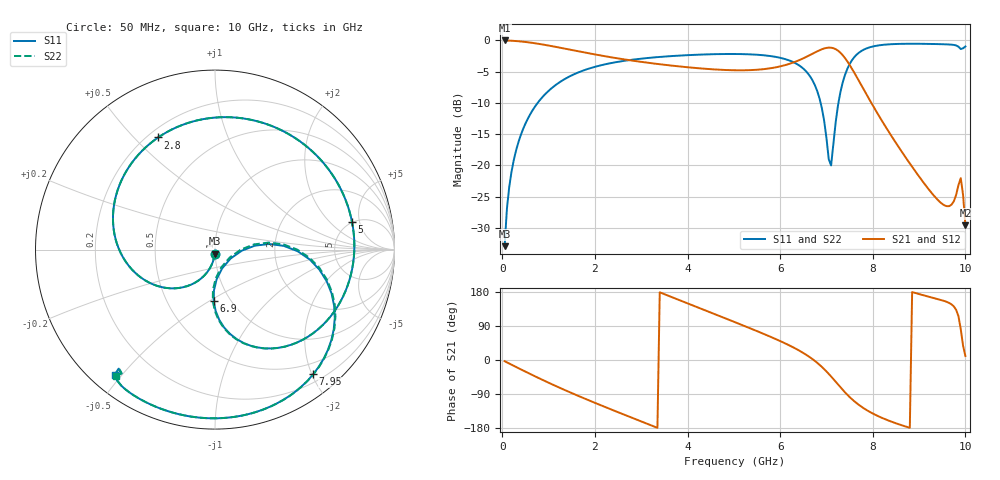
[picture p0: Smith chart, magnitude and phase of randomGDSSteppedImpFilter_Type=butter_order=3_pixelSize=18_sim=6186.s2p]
! freq	dB(S11)	phase(S11)	dB(S12)	phase(S12)
!  dB(S21)	phase(S21)	dB(S22)	phase(S22)
!S-par simulation data
#  GHz  S  DB  R 50
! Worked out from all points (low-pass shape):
!   200 points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, 50 MHz to 10 GHz, reference 50 ohm
!   highest |S21| = -0.01 dB at 50 MHz (marker M1); lowest = -29.6 dB at 10 GHz (marker M2)
!   |S21| within 3 dB of the highest: start of sweep to 2.608 GHz; 6.458 GHz to 7.418 GHz (959.5 MHz wide, 13.8 % of centre)
!   lowest |S11| = -32.9 dB at 50 MHz (marker M3), VSWR 1.05, Z = 49.8 - j2.25 ohm
!   |S11| at or under -10 dB: start of sweep to 763.3 MHz; 6.874 GHz to 7.258 GHz (384.6 MHz wide, 5.44 % of centre)
!   |S22| runs from -32.9 to -0.5 dB; largest |S21 - S12| = 0
!   S11 on the Smith chart (normalised r, x): 50 MHz: 1.00, -0.05; 2.8 GHz: 0.24, +0.59; 5 GHz: 4.94, +3.87; 6.9 GHz: 0.84, -0.53; 7.95 GHz: 0.32, -2.02; 10 GHz: 0.07, -0.48
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0.05  -32.90 -93.1  -0.01 -3.1  -0.01 -3.1  -32.90 -93.1
0.2  -20.96 -102.8  -0.05 -12.5  -0.05 -12.5  -20.96 -102.8
0.5  -13.30 -121.3  -0.25 -30.7  -0.25 -30.7  -13.30 -121.3
1.1  -7.43 -156.2  -0.96 -65.6  -0.96 -65.6  -7.43 -156.2
1.75  -4.81 169.0  -1.89 -100.3  -1.89 -100.3  -4.81 169.0
2.8  -3.09 116.9  -3.22 -152.4  -3.22 -152.4  -3.09 117.0
3.4  -2.64 88.0  -3.81 178.6  -3.81 178.6  -2.64 88.1
4.15  -2.31 52.0  -4.40 142.3  -4.40 142.3  -2.31 52.1
5  -2.17 11.4  -4.77 101.0  -4.77 101.0  -2.17 11.5
5.05  -2.17 9.0  -4.78 98.6  -4.78 98.6  -2.17 9.1
6.1  -2.97 -43.0  -3.97 44.4  -3.97 44.4  -2.97 -43.1
6.7  -6.41 -79.8  -2.13 2.2  -2.13 2.2  -6.42 -80.3
6.9  -10.80 -91.4  -1.42 -18.1  -1.42 -18.1  -10.86 -92.5
7.1  -19.99 -29.8  -1.16 -43.4  -1.16 -43.4  -20.65 -28.5
7.25  -10.34 5.9  -1.65 -64.7  -1.65 -64.7  -10.41 7.5
7.4  -5.52 -5.9  -2.83 -85.4  -2.83 -85.4  -5.54 -4.9
7.65  -2.29 -29.7  -5.79 -113.8  -5.79 -113.8  -2.29 -29.1
7.95  -1.07 -51.8  -9.75 -137.9  -9.75 -137.9  -1.07 -51.3
8.35  -0.63 -73.0  -14.67 -160.3  -14.67 -160.3  -0.63 -72.7
9.55  -0.62 -117.6  -26.38 155.5  -26.38 155.5  -0.62 -117.3
9.9  -1.38 -129.0  -22.02 81.2  -22.02 81.2  -1.39 -128.8
10  -0.97 -128.5  -29.55 10.5  -29.55 10.5  -0.98 -128.2
